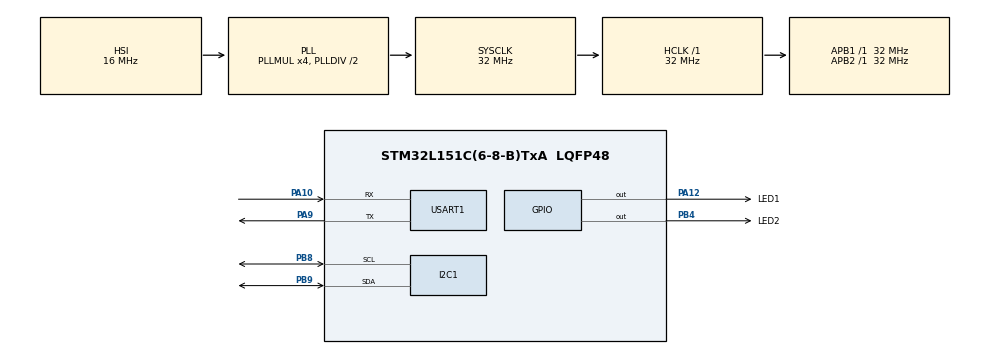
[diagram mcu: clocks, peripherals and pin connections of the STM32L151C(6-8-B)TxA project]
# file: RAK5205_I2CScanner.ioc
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Mcu.Family=STM32L1
Mcu.Name=STM32L151C(6-8-B)TxA
Mcu.Package=LQFP48
NVIC.PriorityGroup=NVIC_PRIORITYGROUP_4
PA10.Mode=Asynchronous
PA10.Signal=USART1_RX
PA12.GPIO_Label=LED1
PA12.PinState=GPIO_PIN_SET
PA12.Signal=GPIO_Output
PA13.Mode=Serial_Wire
PA13.Signal=SYS_JTMS-SWDIO
PA14.Mode=Serial_Wire
PA14.Signal=SYS_JTCK-SWCLK
PA9.Mode=Asynchronous
PA9.Signal=USART1_TX
PB4.GPIO_Label=LED2
PB4.PinState=GPIO_PIN_SET
PB4.Signal=GPIO_Output
PB8.Mode=I2C
PB8.Signal=I2C1_SCL
PB9.Mode=I2C
PB9.Signal=I2C1_SDA
ProjectManager.HeapSize=0x200
ProjectManager.StackSize=0x400
ProjectManager.TargetToolchain=SW4STM32
RCC.48MHZClocksFreq_Value=32000000
RCC.AHBFreq_Value=32000000
RCC.APB1Freq_Value=32000000
RCC.APB1TimFreq_Value=32000000
RCC.APB2Freq_Value=32000000
RCC.APB2TimFreq_Value=32000000
RCC.HCLKFreq_Value=32000000
RCC.HSE_VALUE=24000000
RCC.HSI_VALUE=16000000
RCC.LSE_VALUE=32768
RCC.MSI_VALUE=2097000
RCC.PLLMUL=RCC_PLL_MUL4
RCC.SYSCLKFreq_VALUE=32000000
RCC.SYSCLKSource=RCC_SYSCLKSOURCE_PLLCLK
RCC.VCOOutputFreq_Value=64000000
USART1.VirtualMode=VM_ASYNC
board=custom

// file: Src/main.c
/* USER CODE BEGIN Header */
/**
  ******************************************************************************
  * @file           : main.c
  * @brief          : Main program body
  ******************************************************************************
  ** This notice applies to any and all portions of this file
  * that are not between comment pairs USER CODE BEGIN and
  * USER CODE END. Other portions of this file, whether
  * inserted by the user or by software development tools
  * are owned by their respective copyright owners.
  *
  * COPYRIGHT(c) 2018 STMicroelectronics
  *
  * Redistribution and use in source and binary forms, with or without modification,
  * are permitted provided that the following conditions are met:
  *   1. Redistributions of source code must retain the above copyright notice,
  *      this list of conditions and the following disclaimer.
  *   2. Redistributions in binary form must reproduce the above copyright notice,
  *      this list of conditions and the following disclaimer in the documentation
  *      and/or other materials provided with the distribution.
  *   3. Neither the name of STMicroelectronics nor the names of its contributors
  *      may be used to endorse or promote products derived from this software
  *      without specific prior written permission.
  *
  * THIS SOFTWARE IS PROVIDED BY THE COPYRIGHT HOLDERS AND CONTRIBUTORS "AS IS"
  * AND ANY EXPRESS OR IMPLIED WARRANTIES, INCLUDING, BUT NOT LIMITED TO, THE
  * IMPLIED WARRANTIES OF MERCHANTABILITY AND FITNESS FOR A PARTICULAR PURPOSE ARE
  * DISCLAIMED. IN NO EVENT SHALL THE COPYRIGHT HOLDER OR CONTRIBUTORS BE LIABLE
  * FOR ANY DIRECT, INDIRECT, INCIDENTAL, SPECIAL, EXEMPLARY, OR CONSEQUENTIAL
  * DAMAGES (INCLUDING, BUT NOT LIMITED TO, PROCUREMENT OF SUBSTITUTE GOODS OR
  * SERVICES; LOSS OF USE, DATA, OR PROFITS; OR BUSINESS INTERRUPTION) HOWEVER
  * CAUSED AND ON ANY THEORY OF LIABILITY, WHETHER IN CONTRACT, STRICT LIABILITY,
  * OR TORT (INCLUDING NEGLIGENCE OR OTHERWISE) ARISING IN ANY WAY OUT OF THE USE
  * OF THIS SOFTWARE, EVEN IF ADVISED OF THE POSSIBILITY OF SUCH DAMAGE.
  *
  ******************************************************************************
  */
/* USER CODE END Header */

#include "main.h"

/* USER CODE BEGIN Includes */
#include <string.h>
/* USER CODE END Includes */

I2C_HandleTypeDef hi2c1;

UART_HandleTypeDef huart1;

/* USER CODE BEGIN PV */
/* Private variables ---------------------------------------------------------*/

/* USER CODE END PV */

void SystemClock_Config(void);
static void MX_GPIO_Init(void);
static void MX_USART1_UART_Init(void);
static void MX_I2C1_Init(void);
/* USER CODE BEGIN PFP */
/* Private function prototypes -----------------------------------------------*/
/* Direct printf to output somewhere */

#ifdef __GNUC__
#define PUTCHAR_PROTOTYPE int __io_putchar(int ch)
#else
#define PUTCHAR_PROTOTYPE int fputc(int ch, FILE *f)
#endif /* __GNUC__ */

/* USER CODE END PFP */

int main(void)
{
  /* USER CODE BEGIN 1 */
	int i,j;

	HAL_StatusTypeDef retCode;
  /* USER CODE END 1 */

  /* MCU Configuration--------------------------------------------------------*/

  /* Reset of all peripherals, Initializes the Flash interface and the Systick. */
  HAL_Init();

  /* Configure the system clock */
  SystemClock_Config();

  /* Initialize all configured peripherals */
  MX_GPIO_Init();
  MX_USART1_UART_Init();
  MX_I2C1_Init();
  /* USER CODE BEGIN 2 */
  printf("Wis-Trio RAK5205 I2C scanner\r\n");
  printf("The program prints the I2C addresses of all I2C devices\r\n");
  printf("connected to the Wis-Trio board\r\n");
  printf("It is part of the LoRa project at the University of Cape Coast, Ghana\r\n");
  printf("Copyright U. Raich, 15. December 2018\r\n");
  printf("The program is released under the GNU Public License\r\n\n");

  /* USER CODE END 2 */

  /* Infinite loop */
  /* USER CODE BEGIN WHILE */
  while (1) {
	  printf("      0  1  2  3  4  5  6  7  8  9  a  b  c  d  e  f\r\n");
	  for (i=0;i<8;i++) {
		  printf("%02x:",i);
		  for (j=0; j<16; j++) {
			  printf(" ");
			  if (i*16+j == 0) {
				  printf("--");
				  continue;
			  }
			  retCode = HAL_I2C_IsDeviceReady(&hi2c1, (uint16_t)(((i*16)+j)<<1), 10, 200);
			  if (retCode != HAL_OK) {                                    // HAL_ERROR or HAL_BUSY or HAL_TIMEOUT
				  printf("--");
			  }
			  else {
				  printf("%02x",i*16+j);
			  }
		  }
		  printf("\r\n");
	  }
	  printf("\r\n\nWaiting for 10 s until next scan\r\n\n");
	  HAL_Delay(10000);

    /* USER CODE END WHILE */

  }
}

void SystemClock_Config(void)
{
  RCC_OscInitTypeDef RCC_OscInitStruct = {0};
  RCC_ClkInitTypeDef RCC_ClkInitStruct = {0};

  /**Configure the main internal regulator output voltage
  */
  __HAL_PWR_VOLTAGESCALING_CONFIG(PWR_REGULATOR_VOLTAGE_SCALE1);
  /**Initializes the CPU, AHB and APB busses clocks
  */
  RCC_OscInitStruct.OscillatorType = RCC_OSCILLATORTYPE_HSI;
  RCC_OscInitStruct.HSIState = RCC_HSI_ON;
  RCC_OscInitStruct.HSICalibrationValue = RCC_HSICALIBRATION_DEFAULT;
  RCC_OscInitStruct.PLL.PLLState = RCC_PLL_ON;
  RCC_OscInitStruct.PLL.PLLSource = RCC_PLLSOURCE_HSI;
  RCC_OscInitStruct.PLL.PLLMUL = RCC_PLL_MUL4;
  RCC_OscInitStruct.PLL.PLLDIV = RCC_PLL_DIV2;
  if (HAL_RCC_OscConfig(&RCC_OscInitStruct) != HAL_OK)
  {
    Error_Handler();
  }
  /**Initializes the CPU, AHB and APB busses clocks
  */
  RCC_ClkInitStruct.ClockType = RCC_CLOCKTYPE_HCLK|RCC_CLOCKTYPE_SYSCLK
                              |RCC_CLOCKTYPE_PCLK1|RCC_CLOCKTYPE_PCLK2;
  RCC_ClkInitStruct.SYSCLKSource = RCC_SYSCLKSOURCE_PLLCLK;
  RCC_ClkInitStruct.AHBCLKDivider = RCC_SYSCLK_DIV1;
  RCC_ClkInitStruct.APB1CLKDivider = RCC_HCLK_DIV1;
  RCC_ClkInitStruct.APB2CLKDivider = RCC_HCLK_DIV1;

  if (HAL_RCC_ClockConfig(&RCC_ClkInitStruct, FLASH_LATENCY_1) != HAL_OK)
  {
    Error_Handler();
  }
}

static void MX_I2C1_Init(void)
{

  hi2c1.Instance = I2C1;
  hi2c1.Init.ClockSpeed = 100000;
  hi2c1.Init.DutyCycle = I2C_DUTYCYCLE_2;
  hi2c1.Init.OwnAddress1 = 0;
  hi2c1.Init.AddressingMode = I2C_ADDRESSINGMODE_7BIT;
  hi2c1.Init.DualAddressMode = I2C_DUALADDRESS_DISABLE;
  hi2c1.Init.OwnAddress2 = 0;
  hi2c1.Init.GeneralCallMode = I2C_GENERALCALL_DISABLE;
  hi2c1.Init.NoStretchMode = I2C_NOSTRETCH_DISABLE;
  if (HAL_I2C_Init(&hi2c1) != HAL_OK)
  {
    Error_Handler();
  }

}

static void MX_USART1_UART_Init(void)
{

  huart1.Instance = USART1;
  huart1.Init.BaudRate = 115200;
  huart1.Init.WordLength = UART_WORDLENGTH_8B;
  huart1.Init.StopBits = UART_STOPBITS_1;
  huart1.Init.Parity = UART_PARITY_NONE;
  huart1.Init.Mode = UART_MODE_TX_RX;
  huart1.Init.HwFlowCtl = UART_HWCONTROL_NONE;
  huart1.Init.OverSampling = UART_OVERSAMPLING_16;
  if (HAL_UART_Init(&huart1) != HAL_OK)
  {
    Error_Handler();
  }

}

static void MX_GPIO_Init(void)
{
  GPIO_InitTypeDef GPIO_InitStruct = {0};

  /* GPIO Ports Clock Enable */
  __HAL_RCC_GPIOA_CLK_ENABLE();
  __HAL_RCC_GPIOB_CLK_ENABLE();

  /*Configure GPIO pin Output Level */
  HAL_GPIO_WritePin(LED1_GPIO_Port, LED1_Pin, GPIO_PIN_SET);

  /*Configure GPIO pin Output Level */
  HAL_GPIO_WritePin(LED2_GPIO_Port, LED2_Pin, GPIO_PIN_SET);

  /*Configure GPIO pin : LED1_Pin */
  GPIO_InitStruct.Pin = LED1_Pin;
  GPIO_InitStruct.Mode = GPIO_MODE_OUTPUT_PP;
  GPIO_InitStruct.Pull = GPIO_NOPULL;
  GPIO_InitStruct.Speed = GPIO_SPEED_FREQ_LOW;
  HAL_GPIO_Init(LED1_GPIO_Port, &GPIO_InitStruct);

  /*Configure GPIO pin : LED2_Pin */
  GPIO_InitStruct.Pin = LED2_Pin;
  GPIO_InitStruct.Mode = GPIO_MODE_OUTPUT_PP;
  GPIO_InitStruct.Pull = GPIO_NOPULL;
  GPIO_InitStruct.Speed = GPIO_SPEED_FREQ_LOW;
  HAL_GPIO_Init(LED2_GPIO_Port, &GPIO_InitStruct);

}

void Error_Handler(void)
{
  while(1)
  {
  }
}

/************************ (C) COPYRIGHT STMicroelectronics *****END OF FILE****/
